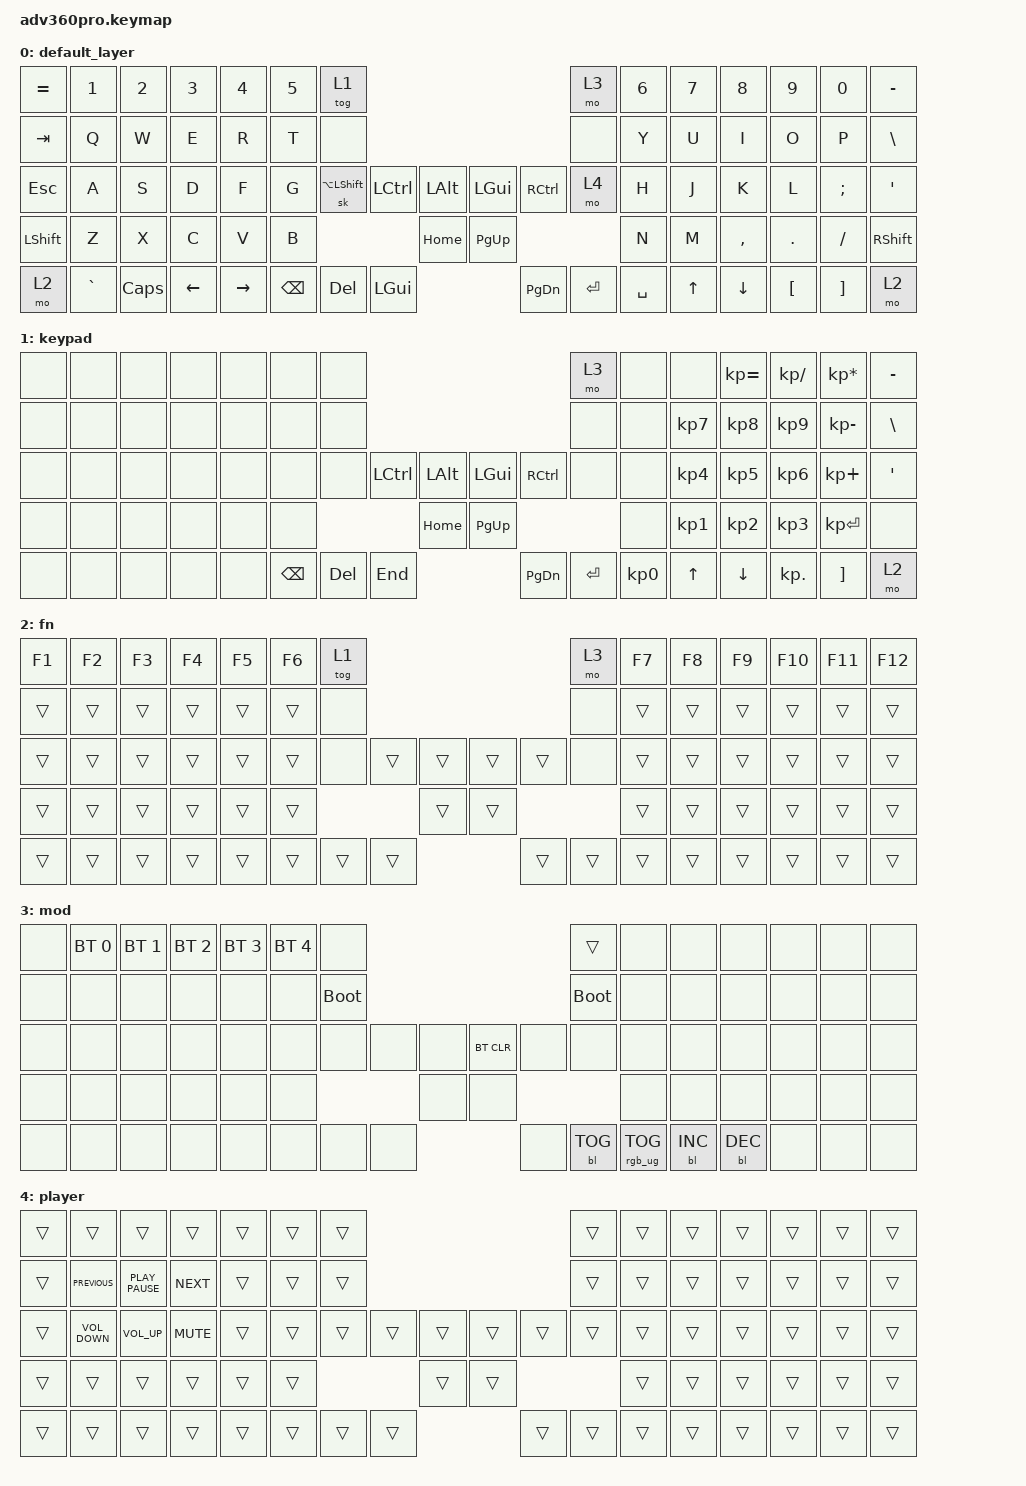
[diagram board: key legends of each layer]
#include <behaviors.dtsi>
#include <dt-bindings/zmk/backlight.h>
#include <dt-bindings/zmk/bt.h>
#include <dt-bindings/zmk/keys.h>
#include <dt-bindings/zmk/rgb.h>

/ {
    keymap {
        compatible = "zmk,keymap";

        default_layer {
            bindings = <
&kp EQUAL  &kp N1     &kp N2    &kp N3    &kp N4     &kp N5  &tog 1                                                                                    &mo 3  &kp N6  &kp N7  &kp N8     &kp N9    &kp N0    &kp MINUS
&kp TAB    &kp Q      &kp W     &kp E     &kp R      &kp T   &none                                                                                     &none  &kp Y   &kp U   &kp I      &kp O     &kp P     &kp BSLH
&kp ESC    &kp A      &kp S     &kp D     &kp F      &kp G   &sk LA(LEFT_SHIFT)            &kp LCTRL  &kp LALT        &kp LGUI   &kp RCTRL             &mo 4  &kp H   &kp J   &kp K      &kp L     &kp SEMI  &kp SQT
&kp LSHFT  &kp Z      &kp X     &kp C     &kp V      &kp B                                            &kp HOME        &kp PG_UP                               &kp N   &kp M   &kp COMMA  &kp DOT   &kp FSLH  &kp RSHFT
&mo 2      &kp GRAVE  &kp CAPS  &kp LEFT  &kp RIGHT                              &kp BSPC  &kp DEL    &kp LEFT_GUI    &kp PG_DN  &kp ENTER  &kp SPACE                 &kp UP  &kp DOWN   &kp LBKT  &kp RBKT  &mo 2
            >;
        };

        keypad {
            bindings = <
&none  &none  &none  &none  &none  &none  &none                                                                    &mo 3  &none  &none      &kp KP_EQUAL  &kp KP_DIVIDE  &kp KP_MULTIPLY  &kp MINUS
&none  &none  &none  &none  &none  &none  &none                                                                    &none  &none  &kp KP_N7  &kp KP_N8     &kp KP_N9      &kp KP_MINUS     &kp BSLH
&none  &none  &none  &none  &none  &none  &none            &kp LCTRL  &kp LALT    &kp LGUI   &kp RCTRL             &none  &none  &kp KP_N4  &kp KP_N5     &kp KP_N6      &kp KP_PLUS      &kp SQT
&none  &none  &none  &none  &none  &none                              &kp HOME    &kp PG_UP                               &none  &kp KP_N1  &kp KP_N2     &kp KP_N3      &kp KP_ENTER     &none
&none  &none  &none  &none  &none                &kp BSPC  &kp DEL    &kp END     &kp PG_DN  &kp ENTER  &kp KP_N0                &kp UP     &kp DOWN      &kp KP_DOT     &kp RBKT         &mo 2
            >;
        };

        fn {
            bindings = <
&kp F1  &kp F2  &kp F3  &kp F4  &kp F5  &kp F6  &tog 1                                                    &mo 3  &kp F7  &kp F8  &kp F9  &kp F10  &kp F11  &kp F12
&trans  &trans  &trans  &trans  &trans  &trans  &none                                                     &none  &trans  &trans  &trans  &trans   &trans   &trans
&trans  &trans  &trans  &trans  &trans  &trans  &none           &trans  &trans    &trans  &trans          &none  &trans  &trans  &trans  &trans   &trans   &trans
&trans  &trans  &trans  &trans  &trans  &trans                          &trans    &trans                         &trans  &trans  &trans  &trans   &trans   &trans
&trans  &trans  &trans  &trans  &trans                  &trans  &trans  &trans    &trans  &trans  &trans                 &trans  &trans  &trans   &trans   &trans
            >;
        };

        mod {
            bindings = <
&none  &bt BT_SEL 0  &bt BT_SEL 1  &bt BT_SEL 2  &bt BT_SEL 3  &bt BT_SEL 4  &none                                                                        &trans       &none  &none       &none       &none  &none  &none
&none  &none         &none         &none         &none         &none         &bootloader                                                                  &bootloader  &none  &none       &none       &none  &none  &none
&none  &none         &none         &none         &none         &none         &none               &none  &none    &bt BT_CLR  &none                        &none        &none  &none       &none       &none  &none  &none
&none  &none         &none         &none         &none         &none                                    &none    &none                                                 &none  &none       &none       &none  &none  &none
&none  &none         &none         &none         &none                                    &none  &none  &none    &none       &bl BL_TOG  &rgb_ug RGB_TOG                      &bl BL_INC  &bl BL_DEC  &none  &none  &none
            >;
        };

        player {
            bindings = <
&trans  &trans             &trans            &trans      &trans  &trans  &trans                                                    &trans  &trans  &trans  &trans  &trans  &trans  &trans
&trans  &kp K_PREVIOUS     &kp K_PLAY_PAUSE  &kp K_NEXT  &trans  &trans  &trans                                                    &trans  &trans  &trans  &trans  &trans  &trans  &trans
&trans  &kp K_VOLUME_DOWN  &kp K_VOLUME_UP   &kp K_MUTE  &trans  &trans  &trans          &trans  &trans    &trans  &trans          &trans  &trans  &trans  &trans  &trans  &trans  &trans
&trans  &trans             &trans            &trans      &trans  &trans                          &trans    &trans                          &trans  &trans  &trans  &trans  &trans  &trans
&trans  &trans             &trans            &trans      &trans                  &trans  &trans  &trans    &trans  &trans  &trans                  &trans  &trans  &trans  &trans  &trans
            >;
        };
    };
};
